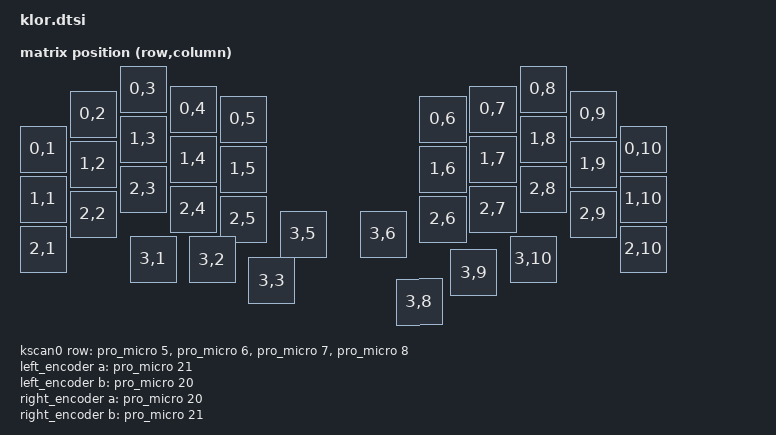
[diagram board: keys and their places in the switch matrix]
/*
 * Copyright (c) 2022 The ZMK Contributors
 *
 * SPDX-License-Identifier: MIT
 */
 #include <dt-bindings/zmk/matrix_transform.h>

/ {
	chosen {
		zephyr,display = &oled;
		zmk,kscan = &kscan0;
		zmk,matrix_transform = &matrix_transform0;
    zmk,physical-layout = &physical_layout0;
	};

  kscan0: kscan0 {
    label = "KSCAN";
    compatible = "zmk,kscan-gpio-matrix";
    diode-direction = "col2row";
    row-gpios
      = <&pro_micro 5 (GPIO_ACTIVE_HIGH | GPIO_PULL_DOWN)>
      , <&pro_micro 6 (GPIO_ACTIVE_HIGH | GPIO_PULL_DOWN)>
      , <&pro_micro 7 (GPIO_ACTIVE_HIGH | GPIO_PULL_DOWN)>
      , <&pro_micro 8 (GPIO_ACTIVE_HIGH | GPIO_PULL_DOWN)>
		;
	};

  matrix_transform0: keymap_transform_0 {
    compatible = "zmk,matrix-transform";
    columns = <10>;
    rows = <4>;
    map = <
      RC(0,1) RC(0,2) RC(0,3) RC(0,4) RC(0,5)                 RC(0,6) RC(0,7) RC(0,8) RC(0,9) RC(0,10)
      RC(1,1) RC(1,2) RC(1,3) RC(1,4) RC(1,5)                 RC(1,6) RC(1,7) RC(1,8) RC(1,9) RC(1,10)
      RC(2,1) RC(2,2) RC(2,3) RC(2,4) RC(2,5) RC(3,5) RC(3,6) RC(2,6) RC(2,7) RC(2,8) RC(2,9) RC(2,10)
                      RC(3,1) RC(3,2) RC(3,3)                 RC(3,8) RC(3,9) RC(3,10)
		>;
  };

  physical_layout0: physical_layout_0 {
    compatible = "zmk,physical-layout";
    display-name = "saegewerk";

    kscan = <&kscan0>;
    transform = <&matrix_transform0>;

    keys  //                     w   h    x    y     rot    rx    ry
          = <&key_physical_attrs 100 100    0  120       0     0     0>
          , <&key_physical_attrs 100 100  100   50       0     0     0>
          , <&key_physical_attrs 100 100  200    0       0     0     0>
          , <&key_physical_attrs 100 100  300   40       0     0     0>
          , <&key_physical_attrs 100 100  400   60       0     0     0>
          , <&key_physical_attrs 100 100  800   60       0     0     0>
          , <&key_physical_attrs 100 100  900   40       0     0     0>
          , <&key_physical_attrs 100 100 1000    0       0     0     0>
          , <&key_physical_attrs 100 100 1100   50       0     0     0>
          , <&key_physical_attrs 100 100 1200  120       0     0     0>
          , <&key_physical_attrs 100 100    0  220       0     0     0>
          , <&key_physical_attrs 100 100  100  150       0     0     0>
          , <&key_physical_attrs 100 100  200  100       0     0     0>
          , <&key_physical_attrs 100 100  300  140       0     0     0>
          , <&key_physical_attrs 100 100  400  160       0     0     0>
          , <&key_physical_attrs 100 100  800  160       0     0     0>
          , <&key_physical_attrs 100 100  900  140       0     0     0>
          , <&key_physical_attrs 100 100 1000  100       0     0     0>
          , <&key_physical_attrs 100 100 1100  150       0     0     0>
          , <&key_physical_attrs 100 100 1200  220       0     0     0>
          , <&key_physical_attrs 100 100    0  320       0     0     0>
          , <&key_physical_attrs 100 100  100  250       0     0     0>
          , <&key_physical_attrs 100 100  200  200       0     0     0>
          , <&key_physical_attrs 100 100  300  240       0     0     0>
          , <&key_physical_attrs 100 100  400  260       0     0     0>
          , <&key_physical_attrs 100 100  520  290       0     0     0>
          , <&key_physical_attrs 100 100  680  290       0     0     0>
          , <&key_physical_attrs 100 100  800  260       0     0     0>
          , <&key_physical_attrs 100 100  900  240       0     0     0>
          , <&key_physical_attrs 100 100 1000  200       0     0     0>
          , <&key_physical_attrs 100 100 1100  250       0     0     0>
          , <&key_physical_attrs 100 100 1200  320       0     0     0>
          , <&key_physical_attrs 100 100  220  340       0     0     0>
          , <&key_physical_attrs 100 100  340  340       15    0     0>
          , <&key_physical_attrs 100 100  460  380       30    0     0>
          , <&key_physical_attrs 100 100  750  430      (-30)  0     0>
          , <&key_physical_attrs 100 100  860  370      (-15)  0     0>
          , <&key_physical_attrs 100 100  980  340       0     0     0>
          ;
  };

	left_encoder: encoder_left {
		compatible = "alps,ec11";
		label = "LEFT_ENCODER";
		resolution = <4>;
		status = "disabled";
	  a-gpios = <&pro_micro 21 (GPIO_ACTIVE_HIGH | GPIO_PULL_UP)>;
	  b-gpios = <&pro_micro 20 (GPIO_ACTIVE_HIGH | GPIO_PULL_UP)>;
  };

	right_encoder: encoder_right {
  	compatible = "alps,ec11";
		label = "RIGHT_ENCODER";
		resolution = <4>;
		status = "disabled";
	  a-gpios = <&pro_micro 20 (GPIO_ACTIVE_HIGH | GPIO_PULL_UP)>;
	  b-gpios = <&pro_micro 21 (GPIO_ACTIVE_HIGH | GPIO_PULL_UP)>;
  };

  sensors {
    compatible = "zmk,keymap-sensors";
    triggers-per-rotation = <4>;
		sensors = <&left_encoder &right_encoder>;
  };
};


&pro_micro_i2c {
	status = "okay";

	oled: ssd1306@3c {
		label = "DISPLAY";
		compatible = "solomon,ssd1306fb";
		reg = <0x3c>;
		width = <128>;
		height = <64>;
		segment-offset = <0>;
		page-offset = <0>;
		display-offset = <0>;
		multiplex-ratio = <63>;
		prechargep = <0x22>;
    inversion-on;
	};
};
